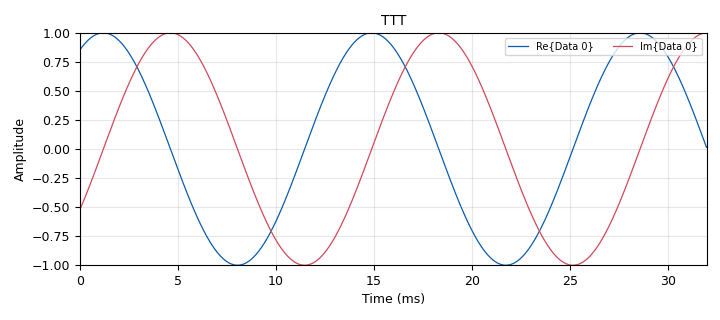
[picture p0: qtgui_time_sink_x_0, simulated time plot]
options:
  parameters:
    author: marcos
    generate_options: qt_gui
    id: default
    output_language: python
    title: Not titled yet
  states: {}

blocks:
- name: samp_rate
  id: variable
  parameters:
    value: '32000'
  states: {}
- name: analog_sig_source_x_0
  id: analog_sig_source_x
  parameters:
    amp: '1'
    freq: '73'
    offset: '0'
    phase: '0'
    samp_rate: samp_rate
    type: complex
    waveform: analog.GR_COS_WAVE
  states: {}
- name: blocks_throttle_0
  id: blocks_throttle
  parameters:
    samples_per_second: samp_rate
    type: complex
  states: {}
- name: qtgui_time_sink_x_0
  id: qtgui_time_sink_x
  parameters:
    color1: magenta
    color2: cyan
    name: TTT
    size: '1024'
    srate: samp_rate
    type: complex
  states: {}

connections:
- [analog_sig_source_x_0, '0', blocks_throttle_0, '0']
- [blocks_throttle_0, '0', qtgui_time_sink_x_0, '0']

metadata:
  file_format: 1
  grc_version: 3.10.4.0
